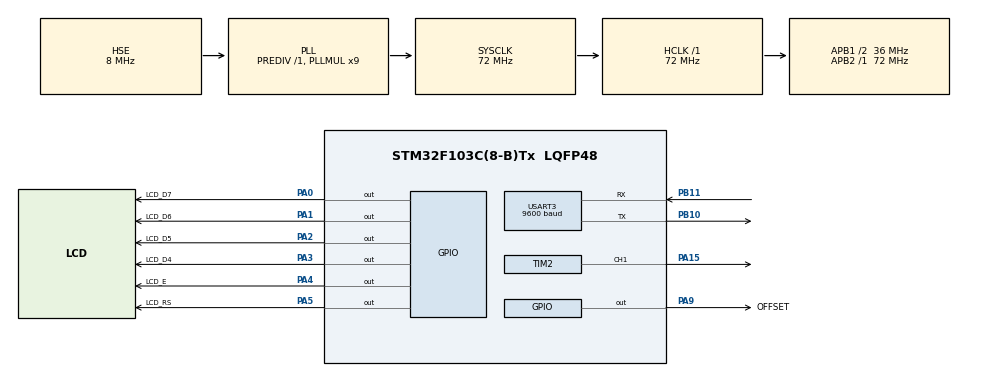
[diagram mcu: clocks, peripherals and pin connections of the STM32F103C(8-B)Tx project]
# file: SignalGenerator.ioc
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Mcu.Family=STM32F1
Mcu.Name=STM32F103C(8-B)Tx
Mcu.Package=LQFP48
NVIC.PriorityGroup=NVIC_PRIORITYGROUP_4
NVIC.USART3_IRQn=true\:0\:0\:false\:false\:true\:true\:true\:true
PA0-WKUP.GPIO_Label=LCD_D7
PA0-WKUP.Signal=GPIO_Output
PA1.GPIO_Label=LCD_D6
PA1.Signal=GPIO_Output
PA13.Mode=Serial_Wire
PA13.Signal=SYS_JTMS-SWDIO
PA14.Mode=Serial_Wire
PA14.Signal=SYS_JTCK-SWCLK
PA15.Signal=S_TIM2_CH1_ETR
PA2.GPIO_Label=LCD_D5
PA2.Signal=GPIO_Output
PA3.GPIO_Label=LCD_D4
PA3.Signal=GPIO_Output
PA4.GPIO_Label=LCD_E
PA4.Signal=GPIO_Output
PA5.GPIO_Label=LCD_RS
PA5.Signal=GPIO_Output
PA9.GPIO_Label=OFFSET
PA9.Signal=GPIO_Output
PB10.Mode=Asynchronous
PB10.Signal=USART3_TX
PB11.Mode=Asynchronous
PB11.Signal=USART3_RX
PD0-OSC_IN.Mode=HSE-External-Oscillator
PD0-OSC_IN.Signal=RCC_OSC_IN
PD1-OSC_OUT.Mode=HSE-External-Oscillator
PD1-OSC_OUT.Signal=RCC_OSC_OUT
ProjectManager.HeapSize=0x200
ProjectManager.StackSize=0x400
ProjectManager.TargetToolchain=STM32CubeIDE
RCC.AHBFreq_Value=72000000
RCC.APB1CLKDivider=RCC_HCLK_DIV2
RCC.APB1Freq_Value=36000000
RCC.APB1TimFreq_Value=72000000
RCC.APB2Freq_Value=72000000
RCC.APB2TimFreq_Value=72000000
RCC.HCLKFreq_Value=72000000
RCC.PLLMUL=RCC_PLL_MUL9
RCC.PLLSourceVirtual=RCC_PLLSOURCE_HSE
RCC.SYSCLKFreq_VALUE=72000000
RCC.SYSCLKSource=RCC_SYSCLKSOURCE_PLLCLK
RCC.USBFreq_Value=72000000
SH.S_TIM2_CH1_ETR.0=TIM2_CH1,PWM Generation1 CH1
TIM2.AutoReloadPreload=TIM_AUTORELOAD_PRELOAD_ENABLE
TIM2.Channel-PWM\ Generation1\ CH1=TIM_CHANNEL_1
TIM2.Period=255
TIM2.Pulse-PWM\ Generation1\ CH1=128
USART3.BaudRate=9600
USART3.VirtualMode=VM_ASYNC
VP_RTC_VS_RTC_Activate.Mode=RTC_Enabled
VP_TIM2_VS_ClockSourceINT.Mode=Internal
board=custom

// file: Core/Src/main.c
/* USER CODE BEGIN Header */
/**
  ******************************************************************************
  * @file           : main.c
  * @brief          : Main program body
  ******************************************************************************
  * @attention
  *
  * Copyright (c) 2022 STMicroelectronics.
  * All rights reserved.
  *
  * This software is licensed under terms that can be found in the LICENSE file
  * in the root directory of this software component.
  * If no LICENSE file comes with this software, it is provided AS-IS.
  *
  ******************************************************************************
  */
/* USER CODE END Header */
#include "main.h"

/* USER CODE BEGIN Includes */
#include "../ECUAL/LCD16x2/LCD16x2.h"
#include "../util/DWT_Delay.h"
#include <stdio.h>
/* USER CODE END Includes */

/* USER CODE BEGIN PTD */
//123132
/* USER CODE END PTD */

 RTC_HandleTypeDef hrtc;

TIM_HandleTypeDef htim2;

UART_HandleTypeDef huart3;

/* USER CODE BEGIN PV */

uint16_t SIN_LU[] = {0,1,2,2,3,4,5,5,6,7,8,9,9,10,11,12,12,13,14,15,16,16,17,18,19,19,20,21,22,23,23,24,25,26,26,27,28,29,29,30,31,32,32,33,34,35,36,36,37,38,39,39,40,41,41,42,43,44,44,45,46,47,47,48,49,50,50,51,52,52,53,54,54,55,56,57,57,58,59,59,60,61,61,62,63,63,64,65,66,66,67,68,68,69,69,70,71,71,72,73,73,74,75,75,76,77,77,78,78,79,80,80,81,81,82,83,83,84,84,85,86,86,87,87,88,88,89,90,90,91,91,92,92,93,93,94,94,95,95,96,96,97,97,98,98,99,99,100,100,101,101,102,102,103,103,104,104,105,105,105,106,106,107,107,108,108,108,109,109,110,110,110,111,111,112,112,112,113,113,113,114,114,114,115,115,115,116,116,116,117,117,117,118,118,118,118,119,119,119,120,120,120,120,121,121,121,121,121,122,122,122,122,123,123,123,123,123,124,124,124,124,124,124,125,125,125,125,125,125,125,125,126,126,126,126,126,126,126,126,126,126,127,127,127,127,127,127,127,127,127,127,127,127,127,127,127};

/* USER CODE END PV */

void SystemClock_Config(void);
static void MX_GPIO_Init(void);
static void MX_RTC_Init(void);
static void MX_USART3_UART_Init(void);
static void MX_TIM2_Init(void);
/* USER CODE BEGIN PFP */

void EnviarUart(char mensaje[])
{
	HAL_UART_Transmit_IT(&huart3, (uint8_t *)mensaje, strlen((uint8_t *)mensaje) );
}

volatile uint8_t RX_String[32];
volatile uint8_t texto1[32];
volatile uint8_t texto2[32];

enum states {WAITING, UPDATE, GENERATE};
enum states state = WAITING;
enum signals {SIN, SQR, TRI, SAW};
enum signals senal;

void HAL_UART_RxCpltCallback(UART_HandleTypeDef *huart)
{
	state = UPDATE;
	HAL_UART_Receive_IT(&huart3, &RX_String, 32);
}

void Awaiting(void)
{
	LCD_Set_Cursor(1, 1);
	LCD_Write_String("Awaiting");
	HAL_Delay(250);

	LCD_Set_Cursor(1, 9);
	LCD_Write_String(".");
	HAL_Delay(250);

	LCD_Set_Cursor(1, 10);
	LCD_Write_String(".");
	HAL_Delay(250);

	LCD_Set_Cursor(1, 11);
	LCD_Write_String(".");
	HAL_Delay(250);

	LCD_Set_Cursor(1, 9);
	LCD_Write_String("   ");
	HAL_Delay(250);

	EnviarUart("Esperando\r\n");
}
/* USER CODE END PFP */

int main(void)
{

  /* MCU Configuration--------------------------------------------------------*/

  /* Reset of all peripherals, Initializes the Flash interface and the Systick. */
  HAL_Init();

  /* Configure the system clock */
  SystemClock_Config();

  /* Initialize all configured peripherals */
  MX_GPIO_Init();
  MX_RTC_Init();
  MX_USART3_UART_Init();
  MX_TIM2_Init();
  /* USER CODE BEGIN 2 */
  //HAL_TIM_Base_Init(&htim2);
  HAL_TIM_PWM_Start(&htim2, TIM_CHANNEL_1);
  DWT_Delay_Init();

  /*Estructura Canal de Salida*/
  struct channel{
	uint8_t Id;
	uint16_t Frequency;
	uint8_t Offset;
  } Output;

  /*Valor del AutoReset Register*/
  uint32_t MAXVALUE = TIM2->ARR;
  uint32_t DCVAL = MAXVALUE/2;

  /*Incializar el LCD*/
  LCD_Init();
  LCD_Clear();

  HAL_Delay(1000);
  /* USER CODE END 2 */

  /* Infinite loop */
  /* USER CODE BEGIN WHILE */
  // Comienzo la recepción de datos
  HAL_UART_Receive_IT(&huart3, &RX_String, 32);
  while (1)
  {
	  switch(state)
	  {
	  case WAITING:
		  Awaiting();
		  break;

	  case UPDATE:
		  // PARSE
		  sscanf(RX_String,"[%d-%d-%d]" , &Output.Id , &Output.Frequency , &Output.Offset );
		  char nombre[6];
		  if (Output.Id == 0){strcpy( nombre, "SIN" );}
		  if (Output.Id == 1){strcpy( nombre, "TRI" );}
		  if (Output.Id == 2){strcpy( nombre, "SQR" );}
		  if (Output.Id == 3){strcpy( nombre, "SAW" );}

		  sprintf(texto1 , "SIG:%.3s OFF:%d", nombre , Output.Offset);
		  sprintf(texto2 , "   FRQ:%d" , Output.Frequency);

		  // MODIFY DISPLAY
		  LCD_Clear();

		  LCD_Set_Cursor(1,1);
		  LCD_Write_String( texto1 );
		  LCD_Set_Cursor(2,1);
		  LCD_Write_String( texto2 );

		  //
		  if (Output.Id == 0)
		  {
			  senal = SIN;
			  EnviarUart("eleji seno");
		  } else if (Output.Id == 2)
		  {
			  senal = SQR;
			  EnviarUart("eleji sqr");
		  } else if (Output.Id == 1)
		  {
			  senal = TRI;
			  EnviarUart("eleji tri");
		  } else if (Output.Id == 3)
		  {
			  senal = SAW;
			  EnviarUart("eleji saw");
		  }

		  state = GENERATE;
		  break;

	  case GENERATE:

		  switch(senal)
		  {
		  	  case SIN:
		  		//EnviarUart("genero seno");
		  		  for(int i = 0; i < MAXVALUE; i++)
		  		  {
		  			  TIM2->CCR1 = DCVAL + SIN_LU[i];
		  			  DWT_Delay_us(929/Output.Frequency);
		  		  }

		  		  for(int i = MAXVALUE; i > 0; i--)
		  		  {
		  			  TIM2->CCR1 = DCVAL + SIN_LU[i];
					  DWT_Delay_us(929/Output.Frequency);
		  		  }

				  for(int i = 0; i < MAXVALUE; i++)
				  {
					  TIM2->CCR1 = DCVAL - SIN_LU[i];
					  DWT_Delay_us(929/Output.Frequency);
				  }

				  for(int i = MAXVALUE; i > 0; i--)
				  {
					  TIM2->CCR1 = DCVAL - SIN_LU[i];
					  DWT_Delay_us(929/Output.Frequency);
				  }
		  		break;
		  	  case SQR:
		  		//EnviarUart("genero sqr");
		  		  for(int i = 0; i<MAXVALUE/2; i++)
		  		  {
		  			  TIM2->CCR1 = (MAXVALUE);
		  			  DWT_Delay_us(3906/Output.Frequency);
		  		  }
		  		  for(int i = MAXVALUE/2; i<MAXVALUE; i++)
		  		  {
		  			  TIM2->CCR1 = (0);
		  			  DWT_Delay_us(3906/Output.Frequency);
		  		  }
		  		break;
		  	  case TRI:
		  		EnviarUart("genero tri");
		  		  for(int i = 0; i<MAXVALUE/2; i++)
		  		  {
		  			  TIM2->CCR1 = (2*i);
		  			  DWT_Delay_us(3906/Output.Frequency);
		  		  }
		  		  for(int i = MAXVALUE/2; i>0; i--)
		  		  {
		  			  TIM2->CCR1 = (2*i);
		  			  DWT_Delay_us(3906/Output.Frequency);
		  		  }
		  		break;
		  	  case SAW:
		  		EnviarUart("genero saw");
		  		  for(int i = 0; i<MAXVALUE; i++)
		  		  {
		  			  TIM2->CCR1 = (i);
		  			  DWT_Delay_us(3906/Output.Frequency);
		  		  }
		  		break;
		  }
		  break;
	  }
    /* USER CODE END WHILE */

  }
}

void SystemClock_Config(void)
{
  RCC_OscInitTypeDef RCC_OscInitStruct = {0};
  RCC_ClkInitTypeDef RCC_ClkInitStruct = {0};
  RCC_PeriphCLKInitTypeDef PeriphClkInit = {0};

  /** Initializes the RCC Oscillators according to the specified parameters
  * in the RCC_OscInitTypeDef structure.
  */
  RCC_OscInitStruct.OscillatorType = RCC_OSCILLATORTYPE_LSI|RCC_OSCILLATORTYPE_HSE;
  RCC_OscInitStruct.HSEState = RCC_HSE_ON;
  RCC_OscInitStruct.HSEPredivValue = RCC_HSE_PREDIV_DIV1;
  RCC_OscInitStruct.HSIState = RCC_HSI_ON;
  RCC_OscInitStruct.LSIState = RCC_LSI_ON;
  RCC_OscInitStruct.PLL.PLLState = RCC_PLL_ON;
  RCC_OscInitStruct.PLL.PLLSource = RCC_PLLSOURCE_HSE;
  RCC_OscInitStruct.PLL.PLLMUL = RCC_PLL_MUL9;
  if (HAL_RCC_OscConfig(&RCC_OscInitStruct) != HAL_OK)
  {
    Error_Handler();
  }

  /** Initializes the CPU, AHB and APB buses clocks
  */
  RCC_ClkInitStruct.ClockType = RCC_CLOCKTYPE_HCLK|RCC_CLOCKTYPE_SYSCLK
                              |RCC_CLOCKTYPE_PCLK1|RCC_CLOCKTYPE_PCLK2;
  RCC_ClkInitStruct.SYSCLKSource = RCC_SYSCLKSOURCE_PLLCLK;
  RCC_ClkInitStruct.AHBCLKDivider = RCC_SYSCLK_DIV1;
  RCC_ClkInitStruct.APB1CLKDivider = RCC_HCLK_DIV2;
  RCC_ClkInitStruct.APB2CLKDivider = RCC_HCLK_DIV1;

  if (HAL_RCC_ClockConfig(&RCC_ClkInitStruct, FLASH_LATENCY_2) != HAL_OK)
  {
    Error_Handler();
  }
  PeriphClkInit.PeriphClockSelection = RCC_PERIPHCLK_RTC;
  PeriphClkInit.RTCClockSelection = RCC_RTCCLKSOURCE_LSI;
  if (HAL_RCCEx_PeriphCLKConfig(&PeriphClkInit) != HAL_OK)
  {
    Error_Handler();
  }
}

static void MX_RTC_Init(void)
{

  /** Initialize RTC Only
  */
  hrtc.Instance = RTC;
  hrtc.Init.AsynchPrediv = RTC_AUTO_1_SECOND;
  hrtc.Init.OutPut = RTC_OUTPUTSOURCE_ALARM;
  if (HAL_RTC_Init(&hrtc) != HAL_OK)
  {
    Error_Handler();
  }

}

static void MX_TIM2_Init(void)
{

  TIM_ClockConfigTypeDef sClockSourceConfig = {0};
  TIM_MasterConfigTypeDef sMasterConfig = {0};
  TIM_OC_InitTypeDef sConfigOC = {0};

  htim2.Instance = TIM2;
  htim2.Init.Prescaler = 0;
  htim2.Init.CounterMode = TIM_COUNTERMODE_UP;
  htim2.Init.Period = 255;
  htim2.Init.ClockDivision = TIM_CLOCKDIVISION_DIV1;
  htim2.Init.AutoReloadPreload = TIM_AUTORELOAD_PRELOAD_ENABLE;
  if (HAL_TIM_Base_Init(&htim2) != HAL_OK)
  {
    Error_Handler();
  }
  sClockSourceConfig.ClockSource = TIM_CLOCKSOURCE_INTERNAL;
  if (HAL_TIM_ConfigClockSource(&htim2, &sClockSourceConfig) != HAL_OK)
  {
    Error_Handler();
  }
  if (HAL_TIM_PWM_Init(&htim2) != HAL_OK)
  {
    Error_Handler();
  }
  sMasterConfig.MasterOutputTrigger = TIM_TRGO_RESET;
  sMasterConfig.MasterSlaveMode = TIM_MASTERSLAVEMODE_DISABLE;
  if (HAL_TIMEx_MasterConfigSynchronization(&htim2, &sMasterConfig) != HAL_OK)
  {
    Error_Handler();
  }
  sConfigOC.OCMode = TIM_OCMODE_PWM1;
  sConfigOC.Pulse = 128;
  sConfigOC.OCPolarity = TIM_OCPOLARITY_HIGH;
  sConfigOC.OCFastMode = TIM_OCFAST_DISABLE;
  if (HAL_TIM_PWM_ConfigChannel(&htim2, &sConfigOC, TIM_CHANNEL_1) != HAL_OK)
  {
    Error_Handler();
  }
  HAL_TIM_MspPostInit(&htim2);

}

static void MX_USART3_UART_Init(void)
{

  huart3.Instance = USART3;
  huart3.Init.BaudRate = 9600;
  huart3.Init.WordLength = UART_WORDLENGTH_8B;
  huart3.Init.StopBits = UART_STOPBITS_1;
  huart3.Init.Parity = UART_PARITY_NONE;
  huart3.Init.Mode = UART_MODE_TX_RX;
  huart3.Init.HwFlowCtl = UART_HWCONTROL_NONE;
  huart3.Init.OverSampling = UART_OVERSAMPLING_16;
  if (HAL_UART_Init(&huart3) != HAL_OK)
  {
    Error_Handler();
  }

}

static void MX_GPIO_Init(void)
{
  GPIO_InitTypeDef GPIO_InitStruct = {0};

  /* GPIO Ports Clock Enable */
  __HAL_RCC_GPIOD_CLK_ENABLE();
  __HAL_RCC_GPIOA_CLK_ENABLE();
  __HAL_RCC_GPIOB_CLK_ENABLE();

  /*Configure GPIO pin Output Level */
  HAL_GPIO_WritePin(GPIOA, LCD_D7_Pin|LCD_D6_Pin|LCD_D5_Pin|LCD_D4_Pin
                          |LCD_E_Pin|LCD_RS_Pin|OFFSET_Pin, GPIO_PIN_RESET);

  /*Configure GPIO pins : LCD_D7_Pin LCD_D6_Pin LCD_D5_Pin LCD_D4_Pin
                           LCD_E_Pin LCD_RS_Pin OFFSET_Pin */
  GPIO_InitStruct.Pin = LCD_D7_Pin|LCD_D6_Pin|LCD_D5_Pin|LCD_D4_Pin
                          |LCD_E_Pin|LCD_RS_Pin|OFFSET_Pin;
  GPIO_InitStruct.Mode = GPIO_MODE_OUTPUT_PP;
  GPIO_InitStruct.Pull = GPIO_NOPULL;
  GPIO_InitStruct.Speed = GPIO_SPEED_FREQ_LOW;
  HAL_GPIO_Init(GPIOA, &GPIO_InitStruct);

}

void Error_Handler(void)
{
  __disable_irq();
  while (1)
  {
  }
}
